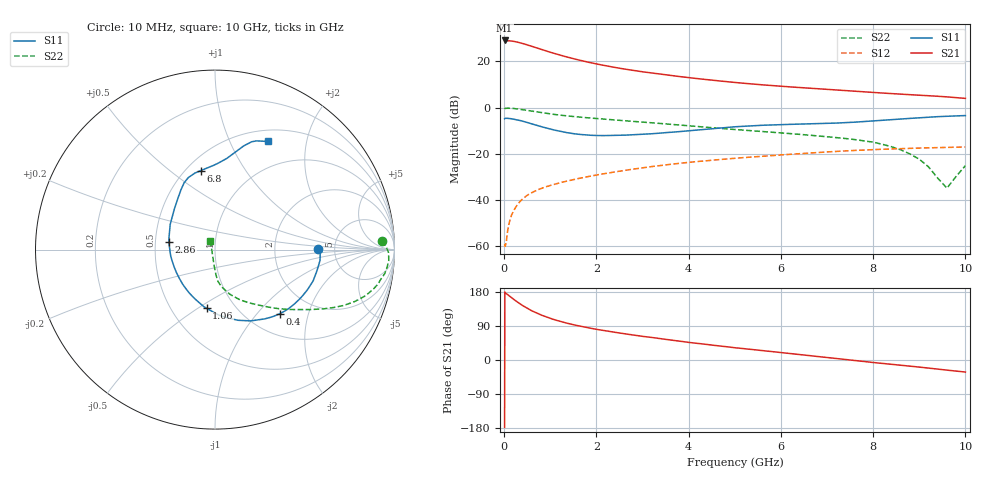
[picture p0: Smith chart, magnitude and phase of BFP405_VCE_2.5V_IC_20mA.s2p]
! Infineon Technologies  Discrete & RF Semiconductors
! BFP405
! VCE =  2.5 V,  IC =  20 mA
! Common Emitter S-Parameters:  Jan 2016
# GHz  S  MA  R  50
!  f  S11  S21  S12  S22
! GHz  MAG  ANG  MAG  ANG  MAG  ANG  MAG  ANG
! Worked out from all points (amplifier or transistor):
!   233 points, 10 MHz to 10 GHz, reference 50 ohm
!   highest |S21| = 29.0 dB at 10 MHz (marker M1)
!   |S21| within 3 dB of that: start of sweep to 670.7 MHz
!   unconditionally stable (mu >= 1): start of sweep to 18.03 MHz; 1.777 GHz to end of sweep
!   at 200 MHz: K = 0.24, MSG = 36.8 dB, |S12| = -44.9 dB
!   at 1.74 GHz: K = 0.99, MSG = 25.1 dB, |S12| = -30.2 dB
!   at 10 GHz: K = 1.38, MAG = 6.8 dB, |S12| = -17.1 dB
!   S11 on the Smith chart (normalised r, x): 10 MHz: 3.67, +0.07; 400 MHz: 1.38, -1.33; 1.06 GHz: 0.74, -0.54; 2.86 GHz: 0.59, +0.05; 6.8 GHz: 0.59, +0.65; 10 GHz: 0.64, +1.40
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0.01  0.5715 0.6  28.28 -178.0  0.0011 116.5  0.9336 3.0
0.02  0.5864 -2.1  28.21 177.4  0.001 100.5  0.956 0.6
0.05  0.5882 -5.9  27.92 175.2  0.0013 94.2  0.9673 -1.0
0.1  0.58 -11.8  27.93 170.0  0.0029 85.6  0.9701 -3.6
0.2  0.5618 -23.4  27.08 160.8  0.0057 80.9  0.9548 -8.1
0.3  0.5356 -34.7  25.88 152.0  0.0082 76.8  0.9297 -11.8
0.4  0.5076 -44.9  24.38 143.7  0.0105 73.6  0.8974 -15.1
0.52  0.4678 -56.1  22.41 135.2  0.013 70.1  0.8583 -18.3
0.6  0.4439 -63.5  21.11 129.8  0.0144 68.3  0.833 -20.2
0.7  0.4146 -71.8  19.6 124.1  0.0161 66.8  0.8027 -22.1
0.9  0.3642 -87.0  16.92 114.0  0.0192 64.7  0.7499 -25.2
1.06  0.3304 -98.2  15.1 107.5  0.0214 63.5  0.7147 -27.2
1.32  0.2906 -115.1  12.72 98.4  0.0251 62.5  0.6668 -29.8
1.68  0.26 -136.5  10.32 88.4  0.03 61.4  0.6148 -32.9
2.18  0.2472 -162.4  8.093 77.3  0.0372 59.7  0.5598 -36.6
2.86  0.2598 170.7  6.228 64.9  0.0475 56.3  0.4977 -41.6
3.4  0.2804 153.6  5.254 56.1  0.0558 52.8  0.4508 -45.8
5.1  0.3883 118.7  3.417 31.2  0.0812 40.1  0.3289 -60.9
6.8  0.4474 100.1  2.545 9.3  0.1063 26.7  0.2433 -74.3
8.4  0.5474 78.9  2.001 -11.4  0.127 11.7  0.1418 -87.6
9.6  0.6484 69.1  1.7 -26.7  0.1373 1.4  0.018 -175.4
10  0.6703 64.0  1.578 -31.8  0.1401 -1.5  0.0553 119.3
